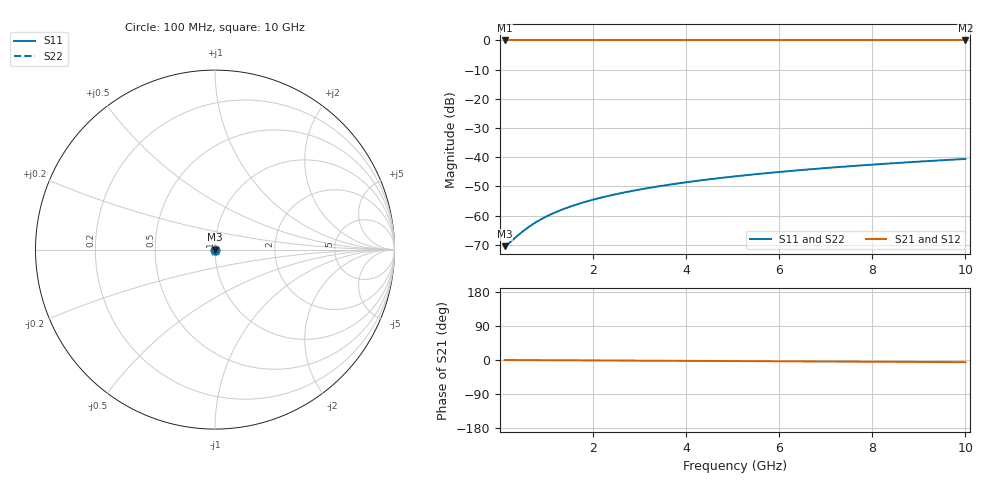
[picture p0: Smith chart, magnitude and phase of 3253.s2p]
# Hz S RI R 50.00
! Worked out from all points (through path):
!   100 points, 100 MHz to 10 GHz, reference 50 ohm
!   highest |S21| = 0.00 dB at 100 MHz (marker M1); lowest = 0.0 dB at 10 GHz (marker M2)
!   lowest |S11| = -70.5 dB at 100 MHz (marker M3), VSWR 1.00, Z = 50 - j0.00926 ohm
!   |S11| at or under -10 dB: start of sweep to end of sweep
!   |S22| runs from -70.5 to -40.6 dB; largest |S21 - S12| = 0
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1e8  0.000285 -9.26e-05  0.9997 -0.000984  0.9997 -0.000984  0.000285 -9.26e-05
2e8  0.000286 -0.000185  0.9997 -0.00197  0.9997 -0.00197  0.000286 -0.000185
4e8  0.000287 -0.00037  0.9997 -0.00394  0.9997 -0.00394  0.000287 -0.00037
5e8  0.000286 -0.000463  0.9997 -0.00492  0.9997 -0.00492  0.000286 -0.000463
6e8  0.000286 -0.000556  0.9997 -0.0059  0.9997 -0.0059  0.000286 -0.000556
7e8  0.000285 -0.000648  0.9997 -0.00689  0.9997 -0.00689  0.000285 -0.000648
9e8  0.000282 -0.000834  0.9997 -0.00886  0.9997 -0.00886  0.000282 -0.000834
1.1e9  0.000279 -0.00102  0.9996 -0.0108  0.9996 -0.0108  0.000279 -0.00102
1.3e9  0.000275 -0.0012  0.9996 -0.0128  0.9996 -0.0128  0.000275 -0.0012
1.5e9  0.00027 -0.00139  0.9996 -0.0148  0.9996 -0.0148  0.00027 -0.00139
1.8e9  0.000261 -0.00167  0.9995 -0.0177  0.9995 -0.0177  0.000261 -0.00167
2.1e9  0.00025 -0.00195  0.9995 -0.0207  0.9995 -0.0207  0.00025 -0.00195
2.5e9  0.000233 -0.00232  0.9994 -0.0246  0.9994 -0.0246  0.000233 -0.00232
2.9e9  0.000213 -0.00269  0.9993 -0.0286  0.9993 -0.0286  0.000213 -0.00269
3.4e9  0.000183 -0.00316  0.9991 -0.0335  0.9991 -0.0335  0.000183 -0.00316
4.2e9  0.000126 -0.0039  0.9988 -0.0414  0.9988 -0.0414  0.000126 -0.0039
5.1e9  4.81e-05 -0.00475  0.9984 -0.0503  0.9984 -0.0503  4.81e-05 -0.00475
5.9e9  -3.42e-05 -0.00549  0.9979 -0.0582  0.9979 -0.0582  -3.42e-05 -0.00549
6.7e9  -0.000128 -0.00624  0.9974 -0.0661  0.9974 -0.0661  -0.000128 -0.00624
7.5e9  -0.000235 -0.00699  0.9969 -0.074  0.9969 -0.074  -0.000235 -0.00699
8.4e9  -0.000368 -0.00783  0.9962 -0.0829  0.9962 -0.0829  -0.000368 -0.00783
1e10  -0.000643 -0.00932  0.9947 -0.0987  0.9947 -0.0987  -0.000643 -0.00932
